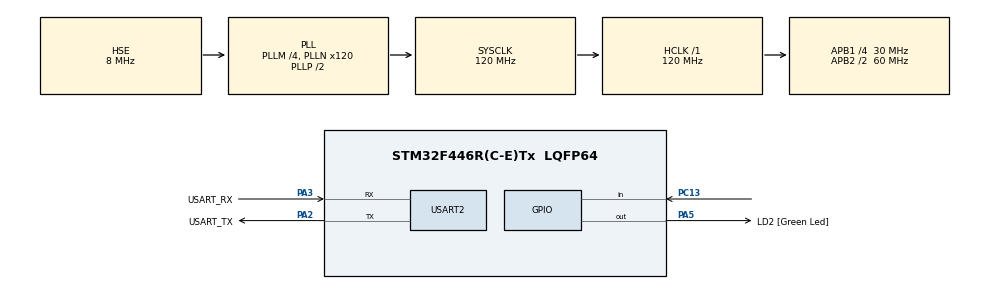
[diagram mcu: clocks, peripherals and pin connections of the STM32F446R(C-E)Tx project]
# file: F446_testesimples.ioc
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Mcu.Family=STM32F4
Mcu.Name=STM32F446R(C-E)Tx
Mcu.Package=LQFP64
NVIC.PriorityGroup=NVIC_PRIORITYGROUP_0
NVIC.USART2_IRQn=true\:0\:0\:false\:false\:true\:true\:true\:true
PA13.GPIO_Label=TMS
PA13.Mode=Serial_Wire
PA13.Signal=SYS_JTMS-SWDIO
PA14.GPIO_Label=TCK
PA14.Mode=Serial_Wire
PA14.Signal=SYS_JTCK-SWCLK
PA2.GPIO_Label=USART_TX
PA2.Mode=Asynchronous
PA2.Signal=USART2_TX
PA3.GPIO_Label=USART_RX
PA3.Mode=Asynchronous
PA3.Signal=USART2_RX
PA5.GPIO_Label=LD2 [Green Led]
PA5.Signal=GPIO_Output
PB3.GPIO_Label=SWO
PB3.Signal=SYS_JTDO-SWO
PC13.GPIO_PuPd=GPIO_PULLUP
PC13.Signal=GPIO_Input
PC14-OSC32_IN.Mode=LSE-External-Oscillator
PC14-OSC32_IN.Signal=RCC_OSC32_IN
PC15-OSC32_OUT.Mode=LSE-External-Oscillator
PC15-OSC32_OUT.Signal=RCC_OSC32_OUT
PH0-OSC_IN.Mode=HSE-External-Oscillator
PH0-OSC_IN.Signal=RCC_OSC_IN
PH1-OSC_OUT.Mode=HSE-External-Oscillator
PH1-OSC_OUT.Signal=RCC_OSC_OUT
ProjectManager.HeapSize=0x200
ProjectManager.StackSize=0x400
ProjectManager.TargetToolchain=STM32CubeIDE
RCC.48MHZClocksFreq_Value=84000000
RCC.AHBFreq_Value=120000000
RCC.APB1CLKDivider=RCC_HCLK_DIV4
RCC.APB1Freq_Value=30000000
RCC.APB1TimFreq_Value=60000000
RCC.APB2CLKDivider=RCC_HCLK_DIV2
RCC.APB2Freq_Value=60000000
RCC.APB2TimFreq_Value=120000000
RCC.CortexFreq_Value=120000000
RCC.FLatency-AdvancedSettings=FLASH_LATENCY_3
RCC.HCLKFreq_Value=120000000
RCC.HSE_VALUE=8000000
RCC.HSI_VALUE=16000000
RCC.PLLM=4
RCC.PLLN=120
RCC.PLLSourceVirtual=RCC_PLLSOURCE_HSE
RCC.SYSCLKFreq_VALUE=120000000
RCC.SYSCLKSource=RCC_SYSCLKSOURCE_PLLCLK
RCC.USBFreq_Value=120000000
RCC.VCOOutputFreq_Value=240000000
USART2.VirtualMode=VM_ASYNC
board=NUCLEO-F446RE

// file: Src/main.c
/* USER CODE BEGIN Header */
/**
  ******************************************************************************
  * @file           : main.c
  * @brief          : Main program body
  ******************************************************************************
  * @attention
  *
  * Copyright (c) 2025 STMicroelectronics.
  * All rights reserved.
  *
  * Este código recebe uma curva de 60 pontos via porta serial e, em seguida, utiliza o código
  * C (gerado pelo m2cgen a partir do modelo Random Forest) para realizar a inferência
  * (determinação da concentração).
  *
  * Foram adicionados os arquivos randomforest.h e randomforest.h nos diretórios Inc e Src respectivamente.
  *
  * Sempre que o botão azul da placa F446RE é pressionado, ou sempre que um vetor chega na porta serial
  * o led2 presente na placa muda de estado.
  *
  ******************************************************************************
  */
/* USER CODE END Header */
#include <randomforest.h>
#include "main.h"

/* USER CODE BEGIN Includes */
#include <string.h>
#include <stdlib.h>
#include <stdio.h>
/* USER CODE END Includes */

/* USER CODE BEGIN PD */
#define NBYTES 512
#define N_FEATURES 60
/* USER CODE END PD */

UART_HandleTypeDef huart2;

/* USER CODE BEGIN PV */
uint8_t uart_buffer[NBYTES];
volatile uint16_t rx_index = 0; 	// �?ndice do buffer, começa em 0
volatile uint8_t rx_complete = 0;	// Flag para indicar que o buffer está cheio
uint8_t rx_data;					// Variável temporária para armazenar o byte recebido
int flag = 0;

float input_vector[N_FEATURES];

/* USER CODE END PV */

void SystemClock_Config(void);
static void MX_GPIO_Init(void);
static void MX_USART2_UART_Init(void);

int main(void)
{

  /* MCU Configuration--------------------------------------------------------*/

  /* Reset of all peripherals, Initializes the Flash interface and the Systick. */
  HAL_Init();

  /* USER CODE BEGIN Init */
  __enable_irq();
  /* USER CODE END Init */

  /* Configure the system clock */
  SystemClock_Config();

  /* Initialize all configured peripherals */
  MX_GPIO_Init();
  MX_USART2_UART_Init();
  /* USER CODE BEGIN 2 */

  // Inicia a primeira recepção de APENAS 1 byte, armazenando-o temporariamente em rx_data
  HAL_UART_Receive_IT(&huart2, &rx_data, 1);

  /* USER CODE END 2 */

  /* Infinite loop */
  /* USER CODE BEGIN WHILE */
  while (1)
  {

	  if (rx_complete == 1)
	  {
	      HAL_UART_Transmit(&huart2, (uint8_t *)"rxcomplete\n", strlen("rxcomplete\n"), 100);
	      rx_complete = 0;
	      rx_index = 0;
	      HAL_UART_Transmit(&huart2, uart_buffer, strlen((char*)uart_buffer), 100);
	      HAL_UART_Transmit(&huart2, (uint8_t*)"\n", 1, 100);

	      char *token = strtok((char*)uart_buffer, ",");
	      int i = 0;
	      while (token != NULL && i < N_FEATURES)
	      {
	          input_vector[i] = strtof(token, NULL);  // converte "35" → 35.0f
	          token = strtok(NULL, ",");
	          i++;
	      }

	      float resultado = score(input_vector);

	      char msg[50];
	      sprintf(msg, "Resultado: %.4f\r\n", resultado);
	      HAL_UART_Transmit(&huart2, (uint8_t *)msg, strlen(msg), 100);

	      HAL_UART_Receive_IT(&huart2, &rx_data, 1);
	  }

	  	  if(HAL_GPIO_ReadPin (GPIOC, GPIO_PIN_13) == GPIO_PIN_RESET){
	  		  HAL_Delay(50);
	  		  if(HAL_GPIO_ReadPin (GPIOC, GPIO_PIN_13) == GPIO_PIN_RESET){
	  			  flag = 1;
	  		  }
	  	  }

	  	  if(flag == 1 && HAL_GPIO_ReadPin (GPIOC, GPIO_PIN_13) == GPIO_PIN_SET){
	  		  HAL_GPIO_TogglePin(GPIOA, GPIO_PIN_5);
	  		  HAL_UART_Transmit(&huart2, "Inverte_Led\n" , strlen("Inverte_Led\n"), 200);
	  		  flag = 0;

	  	  }
    /* USER CODE END WHILE */

  }
}

void SystemClock_Config(void)
{
  RCC_OscInitTypeDef RCC_OscInitStruct = {0};
  RCC_ClkInitTypeDef RCC_ClkInitStruct = {0};

  /** Configure the main internal regulator output voltage
  */
  __HAL_RCC_PWR_CLK_ENABLE();
  __HAL_PWR_VOLTAGESCALING_CONFIG(PWR_REGULATOR_VOLTAGE_SCALE3);

  /** Initializes the RCC Oscillators according to the specified parameters
  * in the RCC_OscInitTypeDef structure.
  */
  RCC_OscInitStruct.OscillatorType = RCC_OSCILLATORTYPE_HSE;
  RCC_OscInitStruct.HSEState = RCC_HSE_ON;
  RCC_OscInitStruct.PLL.PLLState = RCC_PLL_ON;
  RCC_OscInitStruct.PLL.PLLSource = RCC_PLLSOURCE_HSE;
  RCC_OscInitStruct.PLL.PLLM = 4;
  RCC_OscInitStruct.PLL.PLLN = 120;
  RCC_OscInitStruct.PLL.PLLP = RCC_PLLP_DIV2;
  RCC_OscInitStruct.PLL.PLLQ = 2;
  RCC_OscInitStruct.PLL.PLLR = 2;
  if (HAL_RCC_OscConfig(&RCC_OscInitStruct) != HAL_OK)
  {
    Error_Handler();
  }

  /** Initializes the CPU, AHB and APB buses clocks
  */
  RCC_ClkInitStruct.ClockType = RCC_CLOCKTYPE_HCLK|RCC_CLOCKTYPE_SYSCLK
                              |RCC_CLOCKTYPE_PCLK1|RCC_CLOCKTYPE_PCLK2;
  RCC_ClkInitStruct.SYSCLKSource = RCC_SYSCLKSOURCE_PLLCLK;
  RCC_ClkInitStruct.AHBCLKDivider = RCC_SYSCLK_DIV1;
  RCC_ClkInitStruct.APB1CLKDivider = RCC_HCLK_DIV4;
  RCC_ClkInitStruct.APB2CLKDivider = RCC_HCLK_DIV2;

  if (HAL_RCC_ClockConfig(&RCC_ClkInitStruct, FLASH_LATENCY_3) != HAL_OK)
  {
    Error_Handler();
  }
}

static void MX_USART2_UART_Init(void)
{

  huart2.Instance = USART2;
  huart2.Init.BaudRate = 115200;
  huart2.Init.WordLength = UART_WORDLENGTH_8B;
  huart2.Init.StopBits = UART_STOPBITS_1;
  huart2.Init.Parity = UART_PARITY_NONE;
  huart2.Init.Mode = UART_MODE_TX_RX;
  huart2.Init.HwFlowCtl = UART_HWCONTROL_NONE;
  huart2.Init.OverSampling = UART_OVERSAMPLING_16;
  if (HAL_UART_Init(&huart2) != HAL_OK)
  {
    Error_Handler();
  }

}

static void MX_GPIO_Init(void)
{
  GPIO_InitTypeDef GPIO_InitStruct = {0};

  /* GPIO Ports Clock Enable */
  __HAL_RCC_GPIOC_CLK_ENABLE();
  __HAL_RCC_GPIOH_CLK_ENABLE();
  __HAL_RCC_GPIOA_CLK_ENABLE();
  __HAL_RCC_GPIOB_CLK_ENABLE();

  /*Configure GPIO pin Output Level */
  HAL_GPIO_WritePin(LD2_GPIO_Port, LD2_Pin, GPIO_PIN_RESET);

  /*Configure GPIO pin : PC13 */
  GPIO_InitStruct.Pin = GPIO_PIN_13;
  GPIO_InitStruct.Mode = GPIO_MODE_INPUT;
  GPIO_InitStruct.Pull = GPIO_PULLUP;
  HAL_GPIO_Init(GPIOC, &GPIO_InitStruct);

  /*Configure GPIO pin : LD2_Pin */
  GPIO_InitStruct.Pin = LD2_Pin;
  GPIO_InitStruct.Mode = GPIO_MODE_OUTPUT_PP;
  GPIO_InitStruct.Pull = GPIO_NOPULL;
  GPIO_InitStruct.Speed = GPIO_SPEED_FREQ_LOW;
  HAL_GPIO_Init(LD2_GPIO_Port, &GPIO_InitStruct);

}

/* USER CODE BEGIN 4 */
void HAL_UART_RxCpltCallback(UART_HandleTypeDef *huart)
{

    // Verifica se a interrupção é da UART2
    if (huart->Instance == USART2)
    {

        // 1. Armazena o byte recebido (rx_data) na posição atual do buffer
        // (Isso é crucial, pois você quer a quebra de linha no buffer)
        uart_buffer[rx_index] = rx_data;

        // 2. Verifica as condições de parada ANTES de incrementar o índice
        //    (e antes de iniciar a próxima recepção)
        if (rx_index >= (NBYTES - 1) || rx_data == '\n')
        {
            // O buffer está cheio (use NBYTES - 1 para que o último byte seja armazenado
            // e o índice rx_index chegue a NBYTES, ou se chegou a quebra de linha).
            rx_complete = 1;
            HAL_GPIO_TogglePin(GPIOA, GPIO_PIN_5);

            // Opcional: Adicionar o terminador nulo ('\0') se for tratar a mensagem
            // como string C, e se houver espaço.
            if (rx_index < NBYTES) {
                 uart_buffer[rx_index + 1] = '\0';
            }

        }
        else
        {
            // 3. Incrementa o índice SOMENTE se for continuar a recepção
            rx_index++;

            // 4. Reinicia a recepção de mais 1 byte.
            HAL_UART_Receive_IT(&huart2, &rx_data, 1);
        }
    }
}
/* USER CODE END 4 */

void Error_Handler(void)
{
  __disable_irq();
  while (1)
  {
  }
}
